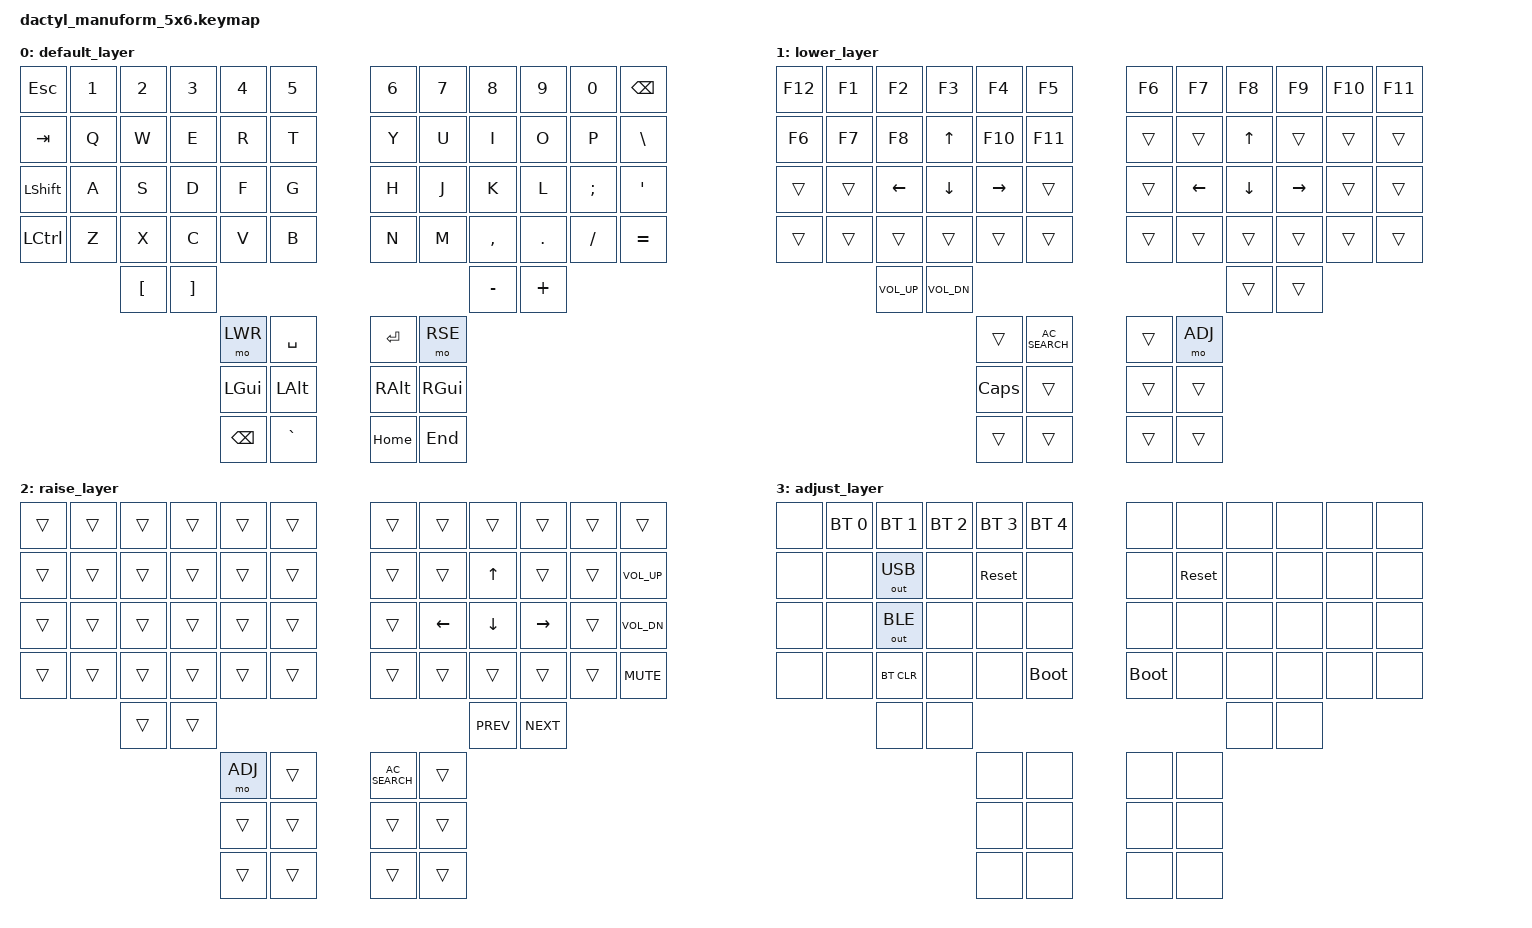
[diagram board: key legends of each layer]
#include <behaviors.dtsi>
#include <dt-bindings/zmk/keys.h>
#include <dt-bindings/zmk/bt.h>
#include <dt-bindings/zmk/outputs.h>

#define DEFAULT 0
#define LWR 1
#define RSE 2
#define ADJ 3

#define HYPER(key) LS(LC(LA(LG(key))))
#define MEH(key)   LS(LC(LA(key)))

&sl {
release-after-ms = <5000>;
};


&kscan0 {
debounce-press-ms = <30>;
debounce-release-ms = <30>;
};

/ {
    keymap {
        compatible = "zmk,keymap";

        default_layer {
            bindings = <
                &kp ESC   &kp N1 &kp N2 &kp N3 &kp N4 &kp N5              &kp N6 &kp N7 &kp N8    &kp N9  &kp N0   &kp BSPC
                &kp TAB   &kp Q  &kp W  &kp E  &kp R  &kp T               &kp Y  &kp U  &kp I     &kp O   &kp P    &kp BSLH
                &kp LSHFT &kp A  &kp S  &kp D  &kp F  &kp G               &kp H  &kp J  &kp K     &kp L   &kp SEMI &kp SQT
                &kp LCTRL &kp Z  &kp X  &kp C  &kp V  &kp B               &kp N  &kp M  &kp COMMA &kp DOT &kp FSLH &kp EQUAL
                                 &kp LBKT &kp RBKT                                      &kp MINUS &kp PLUS
                                            &mo LWR  &kp SPACE            &kp RET  &mo RSE
                                            &kp LGUI &kp LALT             &kp RALT &kp RGUI
                                            &kp BSPC &kp GRAVE            &kp HOME &kp END
            >;
        };

        lower_layer {
            bindings = <
                &kp F12 &kp F1 &kp F2   &kp F3   &kp F4    &kp F5                  &kp F6 &kp F7   &kp F8   &kp F9    &kp F10 &kp F11
                &kp F6  &kp F7 &kp F8   &kp UP   &kp F10   &kp F11                 &trans &trans   &kp UP   &trans    &trans  &trans
                &trans  &trans &kp LEFT &kp DOWN &kp RIGHT &trans                  &trans &kp LEFT &kp DOWN &kp RIGHT &trans  &trans
                &trans  &trans &trans   &trans   &trans    &trans                  &trans &trans   &trans   &trans    &trans  &trans
                                 &kp K_VOL_UP   &kp K_VOL_DN                              &trans   &trans
                                              &trans    &kp C_AC_SEARCH            &trans &mo ADJ
                                              &kp CAPS  &trans                     &trans &trans
                                              &trans    &trans                     &trans &trans
            >;
        };

        raise_layer {
            bindings = <
                &trans  &trans &trans &trans &trans &trans                &trans &trans   &trans   &trans    &trans &trans
                &trans  &trans &trans &trans &trans &trans                &trans &trans   &kp UP   &trans    &trans &kp K_VOL_UP
                &trans  &trans &trans &trans &trans &trans                &trans &kp LEFT &kp DOWN &kp RIGHT &trans &kp K_VOL_DN
                &trans  &trans &trans &trans &trans &trans                &trans &trans   &trans   &trans    &trans &kp K_MUTE
                               &trans &trans                                              &kp C_PREV  &kp C_NEXT
                                             &mo ADJ &trans               &kp C_AC_SEARCH &trans
                                             &trans  &trans               &trans          &trans
                                             &trans  &trans               &trans          &trans
            >;
        };

        adjust_layer {
            bindings = <
                &none &bt BT_SEL 0 &bt BT_SEL 1 &bt BT_SEL 2 &bt BT_SEL 3 &bt BT_SEL 4             &none       &none      &none &none &none &none
                &none &none        &out OUT_USB &none        &sys_reset   &none                    &none       &sys_reset &none &none &none &none
                &none &none        &out OUT_BLE &none        &none        &none                    &none       &none      &none &none &none &none
                &none &none        &bt BT_CLR   &none        &none        &bootloader              &bootloader &none      &none &none &none &none
                                   &none        &none                                                                     &none &none
                                                             &none        &none                    &none       &none
                                                             &none        &none                    &none       &none
                                                             &none        &none                    &none       &none
            >;
        };
    };
};
